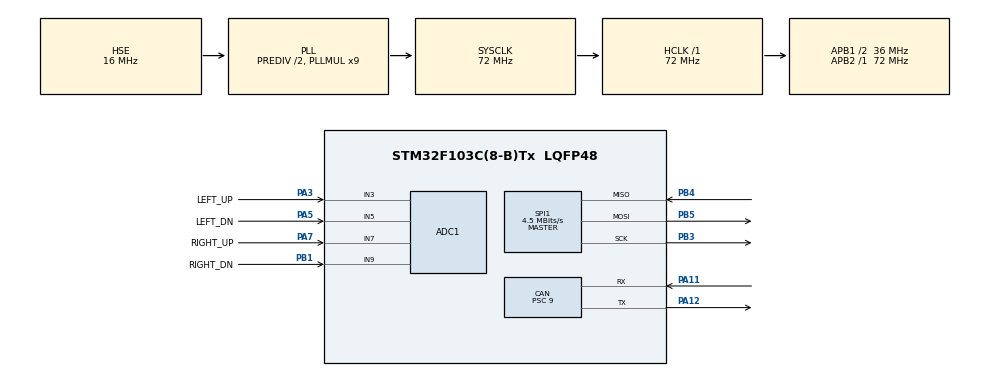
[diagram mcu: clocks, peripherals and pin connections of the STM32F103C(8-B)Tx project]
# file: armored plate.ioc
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ADC1.Channel-0\#ChannelRegularConversion=ADC_CHANNEL_3
ADC1.Channel-1\#ChannelRegularConversion=ADC_CHANNEL_5
ADC1.Channel-2\#ChannelRegularConversion=ADC_CHANNEL_7
ADC1.Channel-3\#ChannelRegularConversion=ADC_CHANNEL_9
ADC1.ContinuousConvMode=ENABLE
ADC1.NbrOfConversion=4
ADC1.NbrOfConversionFlag=1
ADC1.Rank-0\#ChannelRegularConversion=1
ADC1.Rank-1\#ChannelRegularConversion=2
ADC1.Rank-2\#ChannelRegularConversion=3
ADC1.Rank-3\#ChannelRegularConversion=4
ADC1.SamplingTime-0\#ChannelRegularConversion=ADC_SAMPLETIME_71CYCLES_5
ADC1.SamplingTime-1\#ChannelRegularConversion=ADC_SAMPLETIME_71CYCLES_5
ADC1.SamplingTime-2\#ChannelRegularConversion=ADC_SAMPLETIME_71CYCLES_5
ADC1.SamplingTime-3\#ChannelRegularConversion=ADC_SAMPLETIME_71CYCLES_5
ADC1.master=1
CAN.ABOM=DISABLE
CAN.AWUM=DISABLE
CAN.BS1=CAN_BS1_2TQ
CAN.CalculateBaudRate=1000000
CAN.CalculateTimeBit=1000
CAN.CalculateTimeQuantum=250.0
CAN.NART=DISABLE
CAN.Prescaler=9
CAN.SJW=CAN_SJW_2TQ
Dma.ADC1.0.Direction=DMA_PERIPH_TO_MEMORY
Dma.ADC1.0.Instance=DMA1_Channel1
Dma.ADC1.0.MemDataAlignment=DMA_MDATAALIGN_HALFWORD
Dma.ADC1.0.MemInc=DMA_MINC_ENABLE
Dma.ADC1.0.Mode=DMA_CIRCULAR
Dma.ADC1.0.PeriphDataAlignment=DMA_PDATAALIGN_HALFWORD
Dma.ADC1.0.PeriphInc=DMA_PINC_DISABLE
Dma.ADC1.0.Priority=DMA_PRIORITY_MEDIUM
Dma.Request0=ADC1
Dma.Request1=SPI1_TX
Dma.SPI1_TX.1.Direction=DMA_MEMORY_TO_PERIPH
Dma.SPI1_TX.1.Instance=DMA1_Channel3
Dma.SPI1_TX.1.MemDataAlignment=DMA_MDATAALIGN_BYTE
Dma.SPI1_TX.1.MemInc=DMA_MINC_ENABLE
Dma.SPI1_TX.1.Mode=DMA_NORMAL
Dma.SPI1_TX.1.PeriphDataAlignment=DMA_PDATAALIGN_BYTE
Dma.SPI1_TX.1.PeriphInc=DMA_PINC_DISABLE
Dma.SPI1_TX.1.Priority=DMA_PRIORITY_MEDIUM
Mcu.Family=STM32F1
Mcu.Name=STM32F103C(8-B)Tx
Mcu.Package=LQFP48
NVIC.ADC1_2_IRQn=true\:0\:0\:false\:false\:true\:true\:true\:true
NVIC.CAN1_RX1_IRQn=true\:0\:0\:false\:false\:true\:true\:true\:true
NVIC.DMA1_Channel1_IRQn=true\:0\:0\:false\:false\:true\:false\:true\:true
NVIC.DMA1_Channel3_IRQn=true\:0\:0\:false\:false\:true\:false\:true\:true
NVIC.PriorityGroup=NVIC_PRIORITYGROUP_4
NVIC.USB_LP_CAN1_RX0_IRQn=true\:0\:0\:false\:false\:true\:true\:true\:true
PA11.Mode=CAN_Activate
PA11.Signal=CAN_RX
PA12.Mode=CAN_Activate
PA12.Signal=CAN_TX
PA13.Mode=Serial_Wire
PA13.Signal=SYS_JTMS-SWDIO
PA14.Mode=Serial_Wire
PA14.Signal=SYS_JTCK-SWCLK
PA3.GPIO_Label=LEFT_UP
PA3.Signal=ADCx_IN3
PA5.GPIO_Label=LEFT_DN
PA5.Signal=ADCx_IN5
PA7.GPIO_Label=RIGHT_UP
PA7.Signal=ADCx_IN7
PB1.GPIO_Label=RIGHT_DN
PB1.Signal=ADCx_IN9
PB3.Mode=Full_Duplex_Master
PB3.Signal=SPI1_SCK
PB4.Mode=Full_Duplex_Master
PB4.Signal=SPI1_MISO
PB5.Mode=Full_Duplex_Master
PB5.Signal=SPI1_MOSI
PD0-OSC_IN.Mode=HSE-External-Oscillator
PD0-OSC_IN.Signal=RCC_OSC_IN
PD1-OSC_OUT.Mode=HSE-External-Oscillator
PD1-OSC_OUT.Signal=RCC_OSC_OUT
ProjectManager.HeapSize=0x200
ProjectManager.StackSize=0x400
ProjectManager.TargetToolchain=MDK-ARM V5.32
RCC.ADCPresc=RCC_ADCPCLK2_DIV6
RCC.AHBFreq_Value=72000000
RCC.APB1CLKDivider=RCC_HCLK_DIV2
RCC.APB1Freq_Value=36000000
RCC.APB1TimFreq_Value=72000000
RCC.APB2Freq_Value=72000000
RCC.APB2TimFreq_Value=72000000
RCC.HCLKFreq_Value=72000000
RCC.HSEDivPLL=RCC_HSE_PREDIV_DIV2
RCC.HSE_VALUE=16000000
RCC.PLLMUL=RCC_PLL_MUL9
RCC.PLLSourceVirtual=RCC_PLLSOURCE_HSE
RCC.SYSCLKFreq_VALUE=72000000
RCC.SYSCLKSource=RCC_SYSCLKSOURCE_PLLCLK
RCC.USBFreq_Value=72000000
SH.ADCx_IN3.0=ADC1_IN3,IN3
SH.ADCx_IN5.0=ADC1_IN5,IN5
SH.ADCx_IN7.0=ADC1_IN7,IN7
SH.ADCx_IN9.0=ADC1_IN9,IN9
SPI1.BaudRatePrescaler=SPI_BAUDRATEPRESCALER_16
SPI1.CLKPhase=SPI_PHASE_1EDGE
SPI1.CLKPolarity=SPI_POLARITY_LOW
SPI1.CalculateBaudRate=4.5 MBits/s
SPI1.Direction=SPI_DIRECTION_2LINES
SPI1.Mode=SPI_MODE_MASTER
SPI1.VirtualType=VM_MASTER
board=custom

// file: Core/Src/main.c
/* USER CODE BEGIN Header */
/**
  ******************************************************************************
  * @file           : main.c
  * @brief          : 主程序体
  ******************************************************************************
  * @attention
  *
  * Copyright (c) 2025 STMicroelectronics.
  * All rights reserved.
  *
  * This software is licensed under terms that can be found in the LICENSE file
  * in the root directory of this software component.
  * If no LICENSE file comes with this software, it is provided AS-IS.
  *
  ******************************************************************************
  */
/* USER CODE END Header */
#include "main.h"
#include "adc.h"
#include "can.h"
#include "dma.h"
#include "spi.h"
#include "gpio.h"

/* USER CODE BEGIN Includes */
#include "stm32f1xx_hal.h"
#include "ws2812.h"
#include "adc_detect.h"
#include "can_receive.h"
#include <stdio.h>
#include <string.h>
/* USER CODE END Includes */

/* USER CODE BEGIN PV */
// 定义WS2812设备实例（12颗灯*2组=24颗灯）
WS2812_Device_t ws2812_dev;
uint16_t adc_dma_buf[CHANNEL_NUM] = {0};
float UF,UR,DF,DR,UFV,URV,DFV,DRV = 0;
//uint16_t pos = 0;  // 灯珠循环位置
/* USER CODE END PV */

void SystemClock_Config(void);

/* USER CODE BEGIN 0 */
void HAL_SPI_TxCpltCallback(SPI_HandleTypeDef *hspi)
{
    if (hspi == ws2812_dev.hspi) {
        ws2812_spi_tx_cplt_isr(&ws2812_dev);
    }
}
float b =0;
float v[CHANNEL_NUM];
/* USER CODE END 0 */

int main(void)
{

  /* MCU Configuration--------------------------------------------------------*/

  /* Reset of all peripherals, Initializes the Flash interface and the Systick. */
  HAL_Init();

  /* Configure the system clock */
  SystemClock_Config();

  /* Initialize all configured peripherals */
  MX_GPIO_Init();
  MX_DMA_Init();
  MX_ADC1_Init();
  MX_CAN_Init();
  MX_SPI1_Init();
  /* USER CODE BEGIN 2 */

	// 初始化WS2812设备，使用SPI1，24颗灯
	ws2812_init(&ws2812_dev, &hspi1, WS2812_LOGIC_LED_NUM);
	//uint16_t pos = 0;
	HAL_ADCEx_Calibration_Start(&hadc1);

	HAL_ADC_Start_DMA(&hadc1, (uint32_t*)adc_dma_buf, sizeof(adc_dma_buf)/sizeof(uint16_t));
	adc_detect_init();
	CAN_Init(&hcan);

	 if(HAL_CAN_Start(&hcan) != HAL_OK)
  {
    Error_Handler();
  }
	if(HAL_CAN_ActivateNotification(&hcan, CAN_IT_RX_FIFO0_MSG_PENDING) != HAL_OK)
  {
    Error_Handler();
  }
	//armor_set_color(COLOR_BLUE);

  /* USER CODE END 2 */

  /* Infinite loop */
  while (1)
  {

    /* USER CODE BEGIN 3 */
		CAN_Task_Poll();
		if (color_update_flag == 1)
    {
				b = target_color;
        armor_set_color(target_color);
        color_update_flag = 0;
    }
		//adc_baseline.adc_baseline[1]
		adc_detect_get_vdiff(v);
		DR = v[0];
		UR = v[1];
		DF = v[2];
		UF = v[3];
		DRV = (float)adc_dma_buf[0] * ADC_REF_VOLTAGE / ADC_RESOLUTION;
		URV = (float)adc_dma_buf[1] * ADC_REF_VOLTAGE / ADC_RESOLUTION;
		DFV = (float)adc_dma_buf[2] * ADC_REF_VOLTAGE / ADC_RESOLUTION;
		UFV = (float)adc_dma_buf[3] * ADC_REF_VOLTAGE / ADC_RESOLUTION;
		adc_detect_process(&ws2812_dev);
		ProjectileHit_Process(&hcan);

  }
  /* USER CODE END 3 */
}

void SystemClock_Config(void)
{
  RCC_OscInitTypeDef RCC_OscInitStruct = {0};
  RCC_ClkInitTypeDef RCC_ClkInitStruct = {0};
  RCC_PeriphCLKInitTypeDef PeriphClkInit = {0};

  /** Initializes the RCC Oscillators according to the specified parameters
  * in the RCC_OscInitTypeDef structure.
  */
  RCC_OscInitStruct.OscillatorType = RCC_OSCILLATORTYPE_HSE;
  RCC_OscInitStruct.HSEState = RCC_HSE_ON;
  RCC_OscInitStruct.HSEPredivValue = RCC_HSE_PREDIV_DIV2;
  RCC_OscInitStruct.HSIState = RCC_HSI_ON;
  RCC_OscInitStruct.PLL.PLLState = RCC_PLL_ON;
  RCC_OscInitStruct.PLL.PLLSource = RCC_PLLSOURCE_HSE;
  RCC_OscInitStruct.PLL.PLLMUL = RCC_PLL_MUL9;
  if (HAL_RCC_OscConfig(&RCC_OscInitStruct) != HAL_OK)
  {
    Error_Handler();
  }

  /** Initializes the CPU, AHB and APB buses clocks
  */
  RCC_ClkInitStruct.ClockType = RCC_CLOCKTYPE_HCLK|RCC_CLOCKTYPE_SYSCLK
                              |RCC_CLOCKTYPE_PCLK1|RCC_CLOCKTYPE_PCLK2;
  RCC_ClkInitStruct.SYSCLKSource = RCC_SYSCLKSOURCE_PLLCLK;
  RCC_ClkInitStruct.AHBCLKDivider = RCC_SYSCLK_DIV1;
  RCC_ClkInitStruct.APB1CLKDivider = RCC_HCLK_DIV2;
  RCC_ClkInitStruct.APB2CLKDivider = RCC_HCLK_DIV1;

  if (HAL_RCC_ClockConfig(&RCC_ClkInitStruct, FLASH_LATENCY_2) != HAL_OK)
  {
    Error_Handler();
  }
  PeriphClkInit.PeriphClockSelection = RCC_PERIPHCLK_ADC;
  PeriphClkInit.AdcClockSelection = RCC_ADCPCLK2_DIV6;
  if (HAL_RCCEx_PeriphCLKConfig(&PeriphClkInit) != HAL_OK)
  {
    Error_Handler();
  }
}

void Error_Handler(void)
{
  /* USER CODE BEGIN Error_Handler_Debug */
  /* 用户可以添加自己的实现来报告HAL错误返回状态 */

  while (1)
  {
//		for (uint16_t i = 0; i < 24; i++) {
//      ws2812_set_color(&ws2812_dev, i, 55, 55, 0);
//    }
  }
  /* USER CODE END Error_Handler_Debug */
}
#ifdef USE_FULL_ASSERT
/**
  * @brief  Reports the name of the source file and the source line number
  *         where the assert_param error has occurred.
  * @param  file: pointer to the source file name
  * @param  line: assert_param error line source number
  * @retval None
  */
void assert_failed(uint8_t *file, uint32_t line)
{
  /* USER CODE BEGIN 6 */
  /* 用户可以添加自己的实现来报告文件名和行号，
     例如：printf("Wrong parameters value: file %s on line %d\r\n", file, line) */
  /* USER CODE END 6 */
}
#endif /* USE_FULL_ASSERT */
